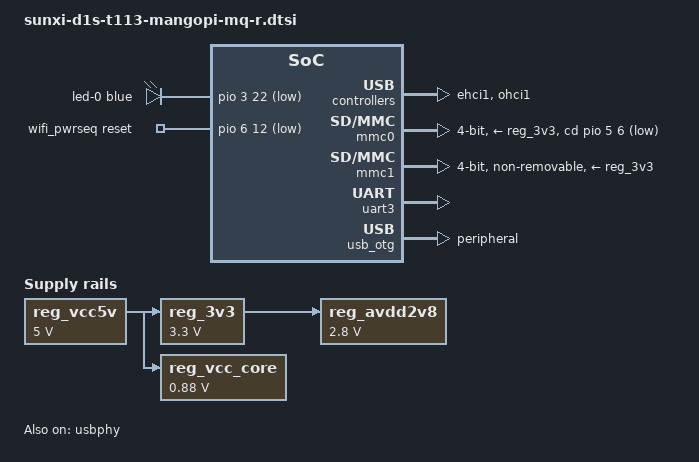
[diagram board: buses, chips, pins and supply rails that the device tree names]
// SPDX-License-Identifier: (GPL-2.0+ or MIT)
// Copyright (C) 2022 Arm Ltd.
/*
 * Common peripherals and configurations for MangoPi MQ-R boards.
 */

#include <dt-bindings/gpio/gpio.h>
#include <dt-bindings/leds/common.h>

/ {
	aliases {
		serial3 = &uart3;
	};

	chosen {
		stdout-path = "serial3:115200n8";
	};

	leds {
		compatible = "gpio-leds";

		led-0 {
			color = <LED_COLOR_ID_BLUE>;
			function = LED_FUNCTION_STATUS;
			gpios = <&pio 3 22 GPIO_ACTIVE_LOW>; /* PD22 */
		};
	};

	/* board wide 5V supply directly from the USB-C socket */
	reg_vcc5v: regulator-5v {
		compatible = "regulator-fixed";
		regulator-name = "vcc-5v";
		regulator-min-microvolt = <5000000>;
		regulator-max-microvolt = <5000000>;
		regulator-always-on;
	};

	/* SY8008 DC/DC regulator on the board */
	reg_3v3: regulator-3v3 {
		compatible = "regulator-fixed";
		regulator-name = "vcc-3v3";
		regulator-min-microvolt = <3300000>;
		regulator-max-microvolt = <3300000>;
		vin-supply = <&reg_vcc5v>;
	};

	/* SY8008 DC/DC regulator on the board, also supplying VDD-SYS */
	reg_vcc_core: regulator-core {
		compatible = "regulator-fixed";
		regulator-name = "vcc-core";
		regulator-min-microvolt = <880000>;
		regulator-max-microvolt = <880000>;
		vin-supply = <&reg_vcc5v>;
	};

	/* XC6206 LDO on the board */
	reg_avdd2v8: regulator-avdd {
		compatible = "regulator-fixed";
		regulator-name = "avdd2v8";
		regulator-min-microvolt = <2800000>;
		regulator-max-microvolt = <2800000>;
		vin-supply = <&reg_3v3>;
	};

	wifi_pwrseq: wifi-pwrseq {
		compatible = "mmc-pwrseq-simple";
		reset-gpios = <&pio 6 12 GPIO_ACTIVE_LOW>; /* PG12 */
	};
};

&dcxo {
	clock-frequency = <24000000>;
};

&ehci1 {
	status = "okay";
};

&mmc0 {
	pinctrl-0 = <&mmc0_pins>;
	pinctrl-names = "default";
	vmmc-supply = <&reg_3v3>;
	cd-gpios = <&pio 5 6 GPIO_ACTIVE_LOW>;
	disable-wp;
	bus-width = <4>;
	status = "okay";
};

&mmc1 {
	pinctrl-0 = <&mmc1_pins>;
	pinctrl-names = "default";
	vmmc-supply = <&reg_3v3>;
	non-removable;
	bus-width = <4>;
	mmc-pwrseq = <&wifi_pwrseq>;
	status = "okay";
};

&ohci1 {
	status = "okay";
};

&pio {
	vcc-pb-supply = <&reg_3v3>;
	vcc-pd-supply = <&reg_3v3>;
	vcc-pe-supply = <&reg_avdd2v8>;
	vcc-pf-supply = <&reg_3v3>;
	vcc-pg-supply = <&reg_3v3>;
};

&uart3 {
	pinctrl-names = "default";
	pinctrl-0 = <&uart3_pb_pins>;
	status = "okay";
};

/* The USB-C socket has its CC pins pulled to GND, so is hardwired as a UFP. */
&usb_otg {
	dr_mode = "peripheral";
	status = "okay";
};

&usbphy {
	usb1_vbus-supply = <&reg_vcc5v>;
	status = "okay";
};
